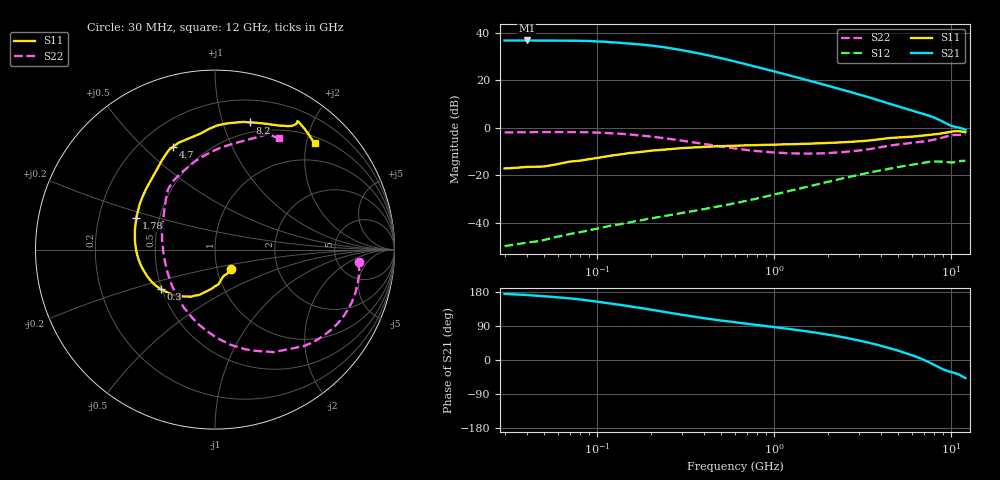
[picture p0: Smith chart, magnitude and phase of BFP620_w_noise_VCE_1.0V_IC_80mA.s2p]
! Infineon Technologies  Discrete & RF Semiconductors
! BFP620
! VCE =  1.0 V,  IC =  80 mA
! Common Emitter S-Parameters:  Nov 2015
# GHz  S  MA  R  50
!  f  S11  S21  S12  S22
! GHz  MAG  ANG  MAG  ANG  MAG  ANG  MAG  ANG
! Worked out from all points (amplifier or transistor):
!   239 points, 30 MHz to 12 GHz, reference 50 ohm
!   highest |S21| = 36.9 dB at 40 MHz (marker M1)
!   |S21| within 3 dB of that: start of sweep to 245.6 MHz
!   unconditionally stable (mu >= 1): 1.273 GHz to end of sweep
!   at 300 MHz: K = 0.65, MSG = 34.4 dB, |S12| = -36.0 dB
!   at 1.88 GHz: K = 1.03, MAG = 19.8 dB, |S12| = -23.3 dB
!   at 12 GHz: K = 1.10, MAG = 4.6 dB, |S12| = -13.9 dB
!   lowest NFmin = 2.02 dB at 450 MHz
!   S11 on the Smith chart (normalised r, x): 30 MHz: 1.16, -0.26; 300 MHz: 0.49, -0.25; 1.78 GHz: 0.37, +0.17; 4.7 GHz: 0.33, +0.62; 8.2 GHz: 0.40, +1.23; 12 GHz: 0.62, +2.16
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0.03  0.1395 -51.5  69.69 174.5  0.0032 98.0  0.8027 -5.0
0.04  0.1501 -62.8  69.8 171.6  0.0038 89.2  0.8143 -8.9
0.07  0.1943 -84.2  69.26 162.7  0.0058 80.9  0.8172 -20.8
0.085  0.2115 -92.7  68.22 158.3  0.0066 78.1  0.8089 -26.2
0.105  0.2396 -102.3  66.09 152.6  0.0078 75.2  0.7904 -33.2
0.15  0.2931 -116.6  60.49 142.3  0.0101 70.7  0.7303 -47.4
0.175  0.31 -122.6  57.39 137.8  0.0112 69.0  0.6899 -53.5
0.2  0.33 -127.9  54.69 132.8  0.0123 67.6  0.6581 -60.2
0.24  0.3487 -135.1  50.04 126.9  0.0138 66.3  0.605 -68.7
0.3  0.3747 -144.0  43.58 119.3  0.0159 65.3  0.5397 -80.3
0.36  0.3898 -150.3  38.46 113.7  0.018 65.0  0.4864 -89.7
0.45  0.4054 -158.1  32.21 107.0  0.021 64.9  0.4282 -101.9
0.6  0.4215 -167.4  25.12 99.4  0.0258 65.0  0.3678 -117.9
0.9  0.4399 -179.7  17.13 89.3  0.0357 64.8  0.3114 -140.8
1.2  0.4513 171.6  12.96 82.1  0.0459 63.1  0.2909 -157.0
1.64  0.4668 161.3  9.516 73.5  0.0608 59.2  0.2867 -174.2
1.78  0.4714 158.2  8.767 71.0  0.0654 57.8  0.2889 -179.1
2.8  0.5117 138.6  5.472 54.5  0.0969 46.5  0.3236 154.9
4.5  0.6118 114.8  3.217 30.7  0.1386 27.1  0.4253 128.1
4.7  0.6178 112.4  3.067 28.4  0.1425 25.0  0.4333 125.5
8.2  0.7353 74.5  1.583 -15.4  0.1956 -13.8  0.5773 84.7
12  0.8115 46.9  0.912 -47.7  0.2014 -42.9  0.7145 60.1
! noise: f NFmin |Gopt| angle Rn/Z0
0.45  2.02  0.42  -168  0.1
0.9  2.03  0.45  -156  0.12
1.9  2.04  0.48  -140  0.16
2.4  2.08  0.48  -137  0.18
3.5  2.15  0.51  -108  0.34
5.5  2.46  0.5  -85  0.56
10  2.73  0.7  -41  1.89
